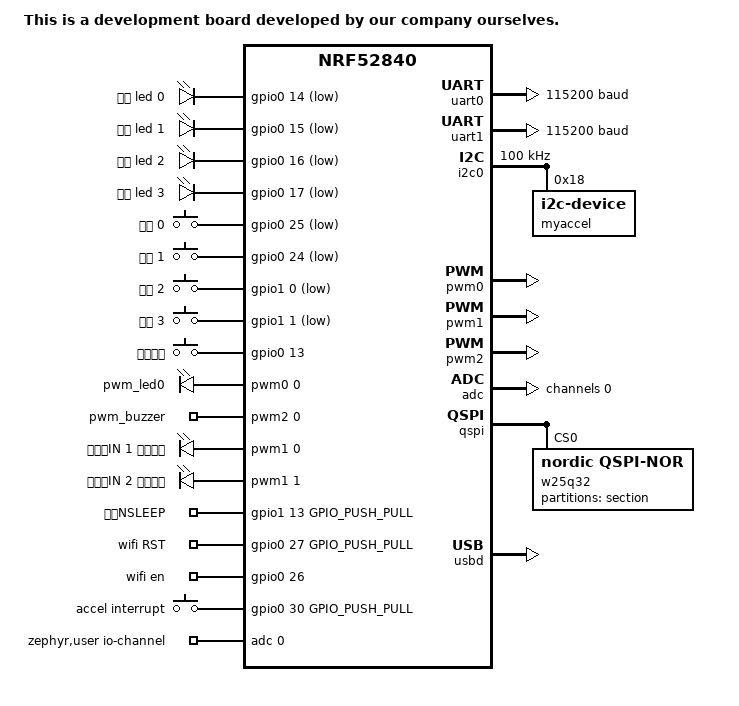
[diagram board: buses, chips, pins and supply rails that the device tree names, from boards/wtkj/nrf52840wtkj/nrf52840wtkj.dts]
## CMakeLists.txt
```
#
# Copyright (c) 2018 Nordic Semiconductor
#
# SPDX-License-Identifier: LicenseRef-Nordic-5-Clause
#
cmake_minimum_required(VERSION 3.20.0)

find_package(Zephyr REQUIRED HINTS $ENV{ZEPHYR_BASE})
project(peripheral_lbs)

zephyr_include_directories(inc)

# NORDIC SDK APP START
target_sources(app PRIVATE
  src/main.c
  src/gatt_svc.c
  src/bt_conn_ctrl.c
  src/app_threads.c
  src/param_parse_pack.c

  # head file
  inc/main.h
  inc/gatt_svc.h
  inc/bt_conn_ctrl.h
  inc/app_threads.h
  inc/param_parse_pack.h
)

# NORDIC SDK APP END
```

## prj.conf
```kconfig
# 基础配置
CONFIG_GPIO=y
CONFIG_LOG=y
CONFIG_BT=y
CONFIG_BT_PERIPHERAL=y
CONFIG_HWINFO=y
CONFIG_BT_DEVICE_NAME="MyE-Bike"

# GATT 服务相关
CONFIG_BT_GATT_SERVICE_CHANGED=y
CONFIG_BT_GATT_DYNAMIC_DB=y
CONFIG_MAIN_STACK_SIZE=2048

# --- 存储配置 (必须保留，否则无法记住对方) ---
CONFIG_BT_BONDABLE=y
CONFIG_BT_SETTINGS=y
CONFIG_SETTINGS=y
CONFIG_FLASH=y
CONFIG_FLASH_MAP=y
CONFIG_SETTINGS_NVS=y

# --- 安全配置 ---
CONFIG_BT_SMP=y

# 允许应用程序监听 PHY 更新 (速度变化，如 1M -> 2M)
CONFIG_BT_USER_PHY_UPDATE=y

CONFIG_BT_SMP_SC_ONLY=n
CONFIG_BT_SMP_OOB_LEGACY_PAIR_ONLY=n

# 允许应用程序监听数据包长度更新 (DLE)
CONFIG_BT_USER_DATA_LEN_UPDATE=y
```

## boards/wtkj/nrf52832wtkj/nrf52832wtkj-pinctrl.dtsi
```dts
&pinctrl {
    uart0_default: uart0_default {
        group1 {
            psels = <NRF_PSEL(UART_TX, 0, 6)>, <NRF_PSEL(UART_RX, 0, 8)>;
        };
    };

    uart0_sleep: uart0_sleep {
        group1 {
            psels = <NRF_PSEL(UART_TX, 0, 6)>, <NRF_PSEL(UART_RX, 0, 8)>;
            low-power-enable;
        };
    };
};
```

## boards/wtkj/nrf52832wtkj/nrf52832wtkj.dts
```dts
/dts-v1/;
#include <nordic/nrf52832_qfaa.dtsi>
#include "nrf52832wtkj-pinctrl.dtsi"

/ {
	model = "The core development board based on NRF52832 developed by our company";
	compatible = "wtkj,nrf52832wtkj";

	chosen {
		zephyr,sram = &sram0;
		zephyr,flash = &flash0;
		zephyr,code-partition = &slot0_partition;
		zephyr,console =  &uart0;
		zephyr,shell-uart =  &uart0;
		zephyr,uart-mcumgr = &uart0;
	};
	leds{
		compatible = "gpio-leds";
		led_0: led_0 {
			gpios = <&gpio0 11 GPIO_ACTIVE_LOW>;
		};
	};
	aliases {
		led0=&led_0;
	};
};

&flash0 {
	partitions {
		compatible = "fixed-partitions";
		#address-cells = <1>;
		#size-cells = <1>;

		boot_partition: partition@0 {
			label = "mcuboot";
			reg = <0x00000000 DT_SIZE_K(48)>;
		};

		slot0_partition: partition@c000 {
			label = "image-0";
			reg = <0x0000c000 DT_SIZE_K(220)>;
		};

		slot1_partition: partition@43000 {
			label = "image-1";
			reg = <0x00043000 DT_SIZE_K(220)>;
		};

		storage_partition: partition@7a000 {
			label = "storage";
			reg = <0x0007a000 DT_SIZE_K(24)>;
		};
	};
};
&uart0 {
	status = "okay";
	pinctrl-0 = <&uart0_default>;
	pinctrl-1 = <&uart0_sleep>;
	pinctrl-names = "default", "sleep";
	current-speed = <115200>;
};

&gpio0 {
	status = "okay";
};

&gpiote {
	status = "okay";
};
```

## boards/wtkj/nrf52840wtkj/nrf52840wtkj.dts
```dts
/dts-v1/;
#include <nordic/nrf52840_qiaa.dtsi>
#include "nrf52840wtkj-pinctrl.dtsi"
#include <zephyr/dt-bindings/input/input-event-codes.h>

/ {
	model = "This is a development board developed by our company ourselves.";
	compatible = "wtkj,nrf52840wtkj";

	chosen {
		zephyr,sram = &sram0;
		zephyr,flash = &flash0;
		zephyr,code-partition = &slot0_partition;
		zephyr,console =  &uart0 ;
		zephyr,shell-uart =  &uart0 ;
		zephyr,uart-mcumgr = &uart0;
	};
	leds{
		compatible = "gpio-leds";
		led0: led_0{
			gpios = <&gpio0 14 GPIO_ACTIVE_LOW>;
			label = "蓝色 led 0";
		};
		led1: led_1{
			gpios = <&gpio0 15 GPIO_ACTIVE_LOW>;
			label = "蓝色 led 1";
		};
		led2: led_2{
			gpios = <&gpio0 16 GPIO_ACTIVE_LOW>;
			label = "蓝色 led 2";
		};
		led3: led_3{
			gpios = <&gpio0 17 GPIO_ACTIVE_LOW>;
			label = "蓝色 led 3";
		};
	};
	buttons{
		compatible = "gpio-keys";
		button0: button_0{
			gpios = <&gpio0 25 (GPIO_ACTIVE_LOW | GPIO_PULL_UP)>;
			label = "按键 0";
			zephyr,code = <INPUT_KEY_0>;
		};
		button1: button_1{
			gpios = <&gpio0 24 (GPIO_PULL_UP|GPIO_ACTIVE_LOW)>;
			label = "按键 1";
			zephyr,code = <INPUT_KEY_1>;
		};
		button2: button_2{
			gpios = <&gpio1 0 (GPIO_ACTIVE_LOW | GPIO_PULL_UP)>;
			label = "按键 2";
			zephyr,code = <INPUT_KEY_2>;
		};
		button3: button_3{
			gpios = <&gpio1 1 (GPIO_ACTIVE_LOW | GPIO_PULL_UP)>;
			label = "按键 3";
			zephyr,code = <INPUT_KEY_3>;
		};
		touch: button_touch{
			gpios = <&gpio0 13 (GPIO_ACTIVE_HIGH | GPIO_PULL_DOWN)>;
			label = "触控按键";
			zephyr,code = <INPUT_KEY_4>;
		};
	};
	pwmleds{
		compatible = "pwm-leds";
		pwm_led0: pwm_led_0{
			pwms = <&pwm0 0 PWM_MSEC(20) PWM_POLARITY_NORMAL>;
		};
	};
	pwmbuzzer{
		compatible = "pwm-leds";
		pwm_buzzer: pwm_buzzer{
			pwms = <&pwm2 0 PWM_USEC(500) PWM_POLARITY_NORMAL>; //pwm 周期为500us
		};
	};
	motordriver {
		compatible = "pwm-leds";

		/* 通道0：控制电机正转/方向1（关联PWM1通道0） */
		motor_in_1: motor_in_1{
			pwms = <&pwm1 0 PWM_MSEC(20) PWM_POLARITY_NORMAL>;
			label = "电机的IN 1 引脚控制";
		};
		/* 通道1：控制电机反转/方向2（关联PWM1通道1） */
		motor_in_2: motor_in_2{
			pwms = <&pwm1 1 PWM_MSEC(20) PWM_POLARITY_NORMAL>;
			label = "电机的IN 2 引脚控制";
		};
	};
	gpiokeys{
		compatible = "gpio-keys";
		motor_nsleep: motor_nsleep{
			gpios = <&gpio1 13 GPIO_PUSH_PULL>;
			label = "电机NSLEEP";
		};
		wifi_rst: wifi_rst{
			gpios = <&gpio0 27 GPIO_PUSH_PULL>;
			label = "wifi RST";
		};
		wifi_en: wifi_en{
			gpios = <&gpio0 26 0>;
			label = "wifi en";
		};
		accel_interrupt: accel_interrupt{
			gpios = <&gpio0 30 GPIO_PUSH_PULL>;
			label = "accel interrupt";
		};
	};

	/* These aliases are provided for compatibility with samples */
	aliases {
		led0 = &led0;
		led1 = &led1;
		led2 = &led2;
		led3 = &led3;
		pwm-led0 = &pwm_led0;
		sw0 = &button0;
		sw1 = &button1;
		sw2 = &button2;
		sw3 = &button3;
		sw4 = &touch;
		bootloader-led0 = &led0;
		mcuboot-button0 = &button0;
		mcuboot-led0 = &led0;
		watchdog0 = &wdt0;
	};

	zephyr,user {
		io-channels = <&adc 0>;
	};
};

&flash0 {
	partitions {
		compatible = "fixed-partitions";
		#address-cells = <1>;
		#size-cells = <1>;

		boot_partition: partition@0 {
			label = "mcuboot";
			reg = <0x00000000 DT_SIZE_K(48)>;
		};

		slot0_partition: partition@c000 {
			label = "image-0";
			reg = <0x0000c000 DT_SIZE_K(472)>;
		};

		slot1_partition: partition@82000 {
			label = "image-1";
			reg = <0x00082000 DT_SIZE_K(472)>;
		};

		storage_partition: partition@f8000 {
			label = "storage";
			reg = <0x000f8000 DT_SIZE_K(32)>;
		};
	};
};
&gpiote {
	status = "okay";
};
&gpio0 {
	status = "okay";
};
&gpio1 {
	status = "okay";
};

//配置uart0
&uart0 {
	compatible = "nordic,nrf-uarte";
	status = "okay";
	current-speed = <115200>;
	pinctrl-0 = <&uart0_default>;
	pinctrl-1 = <&uart0_sleep>;
	pinctrl-names = "default","sleep";
};

//配置uart1
&uart1 {
	compatible = "nordic,nrf-uarte";
	status = "okay";
	current-speed = <115200>;
	pinctrl-0 = <&uart1_default>;
	pinctrl-1 = <&uart1_sleep>;
	pinctrl-names = "default","sleep";
};

//配置i2c0
&i2c0 {
	compatible = "nordic,nrf-twim";
	status = "okay";
	pinctrl-0 = <&i2c0_default>;
	pinctrl-1 = <&i2c0_sleep>;
	pinctrl-names = "default","sleep";
	clock-frequency = <I2C_BITRATE_STANDARD>;
	myaccel: lis2dh12@18 {
		compatible = "i2c-device";
		reg = <0x18>;
	};
};

//配置pwm0
&pwm0 {
	status = "okay";
	pinctrl-0 = <&pwm0_default>;
	pinctrl-1 = <&pwm0_sleep>;//注：这里有下画波浪线，是因为引脚被 led0 也使用了。
	pinctrl-names = "default","sleep";
};

//配置pwm1
&pwm1 {
	status = "okay";
	pinctrl-0 = <&pwm1_default>;
	pinctrl-1 = <&pwm1_sleep>;
	pinctrl-names = "default","sleep";
};
&pwm2 {
	status = "okay";
	pinctrl-0 = <&pwm2_default>;
	pinctrl-1 = <&pwm2_sleep>;
	pinctrl-names = "default","sleep";
};
&adc {
	#address-cells = <1>;
	#size-cells = <0>;
	status = "okay";
	channel@0 {
		reg = <0>;
		zephyr,gain = "ADC_GAIN_1_6";//增益 6倍
		zephyr,reference = "ADC_REF_INTERNAL"; //内部 0.6伏参考电压
		zephyr,acquisition-time = <ADC_ACQ_TIME_DEFAULT>;//采样时间
		zephyr,input-positive = <NRF_SAADC_AIN0>; /* P0.02 for nRF52xx, P0.04 for nRF5340 */
		zephyr,resolution = <12>;//分辨率12位
	};
};


&qspi {
	status = "okay";
	pinctrl-0 = <&qspi_default>;
	pinctrl-1 = <&qspi_sleep>;
	pinctrl-names = "default", "sleep";
	

	w25q32: qspi-nor@0 {
		compatible = "nordic,qspi-nor";
		reg = <0x0>;
		sck-frequency = <10000000>;/*时钟频率10Mhz */

		jedec-id = [ ef 40 16  ]; /* 厂商ID+设备ID，手册8.1节 */
		size = <0x2000000>;/* 这里填写flash大小（位） 0x2000000 位 = 0x400000 字节 =  4096kB = 4MB */
		
		/* Quad 读指令：Fast Read Quad Output（0x6Bh），需 QE=1 */
		readoc = "fastread"; 
		/* Quad 写指令：Quad Input Page Program（0x32h），需 QE=1 */
		writeoc = "pp"; 
		partitions {
			compatible = "fixed-partitions";
			#address-cells = <1>;
			#size-cells = <1>;
			section@0 {
				reg = <0x0 0x400000>;
				label = "section";
			};
		};
	};
	
	
};

// &i2s0 {
// 	status = "okay";
// 	pinctrl-0 = <&i2s0_default>;
// 	pinctrl-1 = <&i2s0_sleep>;
// 	pinctrl-names = "default", "sleep";
// };
&usbd {
	status = "okay";
};
```

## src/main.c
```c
#include <zephyr/kernel.h>
#include <zephyr/logging/log.h>
#include <zephyr/bluetooth/bluetooth.h>
#include <zephyr/settings/settings.h>
#include <zephyr/drivers/hwinfo.h>

#include "gatt_svc.h"      /* 获取 UUID */
#include "bt_conn_ctrl.h"  /* 获取安全初始化函数 */
#include "main.h"

LOG_MODULE_REGISTER(main, LOG_LEVEL_INF);

uint8_t chipId[3] = {0};

/* 广播数据定义 */
static struct bt_data ad[] = {
    BT_DATA_BYTES(BT_DATA_FLAGS, (BT_LE_AD_GENERAL | BT_LE_AD_NO_BREDR)),
    BT_DATA(BT_DATA_UUID16_ALL, &adv_uuid.val, sizeof(adv_uuid.val)),
};

static struct bt_data sd[] = {
    BT_DATA(BT_DATA_NAME_COMPLETE, CONFIG_BT_DEVICE_NAME, (sizeof(CONFIG_BT_DEVICE_NAME) - 1)),
};

static const struct bt_le_adv_param *adv_param = BT_LE_ADV_PARAM(
    BT_LE_ADV_OPT_CONNECTABLE | BT_LE_ADV_OPT_USE_IDENTITY,
    800,
    801,
    NULL
);

/* 启动广播 */
void bt_advertise_start(void)
{
    int err = bt_le_adv_start(adv_param, ad, ARRAY_SIZE(ad), sd, ARRAY_SIZE(sd));
    if (err) {
        LOG_ERR("Advertising failed (err %d)", err);
    } else {
        LOG_INF("Advertising started");
    }
}

/**
 * @brief 蓝牙就绪回调函数
 * @details 此函数在 bt_enable() 内部被调用，是设置初始 MAC 地址的最佳时机。
 */
static void bt_ready(int err)
{
    if (err) {
        LOG_ERR("Bluetooth init failed (err %d)", err);
        return;
    }
    LOG_INF("Bluetooth initialized successfully.");

    // 1. 立即检查并设置 MAC 地址，抢在 SDC 自动生成之前
    size_t id_count = 0;
    bt_id_get(NULL, &id_count);

    if (id_count == 0) {
        LOG_INF("No identity found, creating a new fixed MAC address.");

        bt_addr_le_t custom_addr = {
            .type = BT_ADDR_LE_RANDOM,
            .a = { .val = {BL_MAC_ADDR_5, BL_MAC_ADDR_4, BL_MAC_ADDR_3, BL_MAC_ADDR_2, BL_MAC_ADDR_1, BL_MAC_ADDR_0} }
        };
        custom_addr.a.val[5] |= 0xC0;

        err = bt_id_create(&custom_addr, NULL);
        if (err < 0) {
            LOG_ERR("Failed to create fixed MAC address (err %d)", err);
        } else {
            char addr_str[BT_ADDR_LE_STR_LEN];
            bt_addr_le_to_str(&custom_addr, addr_str, sizeof(addr_str));
            LOG_INF("Successfully set MAC address to: %s", addr_str);
        }
    } else {
        LOG_WRN("An identity already exists, skipping custom MAC creation.");
    }
    hwinfo_get_device_id(chipId, sizeof(chipId));
    LOG_INF("Chip ID: %02X:%02X:%02X", chipId[0], chipId[1], chipId[2]);

    // 2. 在设置完地址后，再加载其他设置 (如绑定信息)
    if (IS_ENABLED(CONFIG_BT_SETTINGS)) {
        settings_load();
        LOG_INF("Settings loaded.");
    }

    // 3. 安全初始化
    if (app_setup_security() != 0) {
        LOG_ERR("Security setup failed");
    }

    // 4. 在所有初始化完成后，开始广播
    bt_advertise_start();
}

int main(void)
{
    bt_enable(bt_ready);

    LOG_INF("Main loop running");
    return 0;
}
```

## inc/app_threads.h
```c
#ifndef APP_THREADS_H
#define APP_THREADS_H

/* 此处可放置线程相关的宏或外部控制函数声明 */

#endif /* APP_THREADS_H */
```

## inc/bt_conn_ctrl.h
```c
#ifndef BT_CONN_CTRL_H
#define BT_CONN_CTRL_H

/* 注册安全回调并设置固定密码 */
int app_setup_security(void);

/* 声明外部实现的广播函数 (main.c 实现) */
void bt_advertise_start(void);

#endif /* BT_CONN_CTRL_H */
```

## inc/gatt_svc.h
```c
#ifndef GATT_SVC_H
#define GATT_SVC_H

#include <zephyr/bluetooth/uuid.h>

/* 供 main.c 广播数据使用的 UUID 声明 */
extern struct bt_uuid_16 adv_uuid;

#endif /* GATT_SVC_H */
```

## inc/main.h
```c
#ifndef __MAIN_H__
#define __MAIN_H__ 

#include <zephyr/types.h>

#define BL_MAC_ADDR_0 0x14
#define BL_MAC_ADDR_1 0x0F
#define BL_MAC_ADDR_2 0x42
#define BL_MAC_ADDR_3 0x06
#define BL_MAC_ADDR_4 0x4A
#define BL_MAC_ADDR_5 0x25

enum led_state_t {
    BL_UNCONNECTED = 0,
    BL_CONNECTED,
};

extern volatile enum led_state_t LED_STATUS;

extern uint8_t chipId[3];

#endif
```

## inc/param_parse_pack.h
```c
#ifndef PARAM_PARSE_PACK_H
#define PARAM_PARSE_PACK_H

#include <zephyr/types.h>

/* 1. 定义命令头 */
#define RECV_CMD_HEAD 0xAA
#define SEND_CMD_HEAD 0xAB

/* 2. 定义命令 ID */
#define CMD_FTE_BleUnlockSetCmd 0x01
#define CMD_FTE_BleLockSetCmd   0x02

/* 3. 声明解析函数 */
/**
 * @brief 解析来自手机的命令
 * @param dataIn   接收到的数据
 * @param inLen    接收到的数据长度
 * @param dataOut  准备回复的数据缓冲区
 * @param outLen   回复数据的长度指针
 * @return 0 成功, 负数失败
 */
int param_parse(const uint8_t *dataIn, uint8_t inLen, uint8_t *dataOut, uint8_t *outLen);

#endif /* PARAM_PARSE_PACK_H */
```

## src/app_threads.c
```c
#include "app_threads.h"
#include "main.h"
#include <zephyr/kernel.h>
#include <zephyr/drivers/gpio.h>
#include <zephyr/logging/log.h>

//日志事件注册
LOG_MODULE_REGISTER(threads, LOG_LEVEL_INF);

//声明GPIO对应设备树结构体
static struct gpio_dt_spec led = GPIO_DT_SPEC_GET(DT_ALIAS(led0), gpios);

//声明结构体

//声明状态变量
volatile enum led_state_t LED_STATUS = BL_UNCONNECTED;

/* led task */
void led_task(void)
{
    if (!gpio_is_ready_dt(&led)) {
        LOG_ERR("LED not ready");
        return;
    }
    gpio_pin_configure_dt(&led, GPIO_OUTPUT);

    for (;;) {

        switch (LED_STATUS) {
        case BL_UNCONNECTED:
            gpio_pin_toggle_dt(&led);
            k_msleep(500);
            break;
        case BL_CONNECTED:
            gpio_pin_set_dt(&led, 1);
            break;
        }
    }
}

/* 启动线程 */
K_THREAD_DEFINE(led_task_thread_id, 256, led_task, NULL, NULL, NULL, 2, 0, 0);
```

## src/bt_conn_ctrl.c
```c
#include "bt_conn_ctrl.h"
#include "main.h"
#include <zephyr/logging/log.h>
#include <zephyr/bluetooth/conn.h>
#include <zephyr/bluetooth/gap.h>
#include <zephyr/bluetooth/hci.h>

LOG_MODULE_REGISTER(conn_ctrl, LOG_LEVEL_INF);

/* =========================================================================
 *  Part 1: 蓝牙连接状态回调 (Connection Callbacks)
 * ========================================================================= */

/**
 * @brief 连接成功回调
 */
static void connected(struct bt_conn *conn, uint8_t err)
{
    if (err) {
        LOG_ERR("Connection failed (err 0x%02x)", err);
        return;
    }

    LED_STATUS = BL_CONNECTED;

    char addr[BT_ADDR_LE_STR_LEN];
    bt_addr_le_to_str(bt_conn_get_dst(conn), addr, sizeof(addr));
    LOG_INF("Connected to: %s", addr);

    /* 更新连接参数: 
     * Min/Max Interval: 30ms-50ms (相对快速的响应)
     * Latency: 0 (无延迟)
     * Timeout: 4000ms (4秒超时)
     */
    struct bt_le_conn_param *param = BT_LE_CONN_PARAM(
        BT_GAP_INIT_CONN_INT_MIN, BT_GAP_INIT_CONN_INT_MAX, 0, 400);

    int param_err = bt_conn_le_param_update(conn, param);
    if (param_err) {
        LOG_WRN("Param update request failed: %d", param_err);
    }

    /* 请求 L2 安全等级 (Just Works: 加密但无认证) */
    /* 注意：如果已经配对过，这里会直接启用加密；如果是新设备，会触发配对流程 */
    int sec_err = bt_conn_set_security(conn, BT_SECURITY_L2);
    if (sec_err) {
        LOG_WRN("Failed to set security (err %d)", sec_err);
    }
}

/**
 * @brief 断开连接回调
 */
static void disconnected(struct bt_conn *conn, uint8_t reason)
{
    LOG_INF("Disconnected (reason 0x%02x)", reason);

    LED_STATUS = BL_UNCONNECTED;
    
    // 断开后立即重新开始广播，等待下一次连接
    bt_advertise_start(); 
}

/**
 * @brief 连接参数更新回调
 * @details 当连接间隔(Interval)、延迟(Latency)或超时(Timeout)发生变化时调用
 */
static void le_param_updated(struct bt_conn *conn, uint16_t interval,
                             uint16_t latency, uint16_t timeout)
{
    // Interval * 1.25ms = 实际时间
    LOG_INF("Connection parameters updated: interval %d (%.2f ms), latency %d, timeout %d ms",
            interval, interval * 1.25, latency, timeout * 10);
}

/**
 * @brief 物理层 (PHY) 更新回调
 * @details 当速度从 1Mbps 变为 2Mbps 或 Coded PHY 时调用
 */
static void le_phy_updated(struct bt_conn *conn,
                           struct bt_conn_le_phy_info *param)
{
    LOG_INF("PHY updated: TX PHY %u, RX PHY %u", param->tx_phy, param->rx_phy);
}

/**
 * @brief 安全等级变化回调
 * @details 非常重要！用于确认加密是否真正生效。
 *          level: BT_SECURITY_L1 (无加密), L2 (加密), L3 (加密+认证), L4 (加密+认证+ECDH)
 */
static void security_changed(struct bt_conn *conn, bt_security_t level,
                             enum bt_security_err err)
{
    char addr[BT_ADDR_LE_STR_LEN];
    bt_addr_le_to_str(bt_conn_get_dst(conn), addr, sizeof(addr));

    if (!err) {
        LOG_INF("Security changed: %s level %u", addr, level);
        if (level >= BT_SECURITY_L2) {
            LOG_INF("--> Link is now ENCRYPTED");
        }
    } else {
        LOG_ERR("Security failed: %s level %u err %d", addr, level, err);
    }
}

/**
 * @brief 数据长度扩展 (DLE) 更新回调
 * @details 当数据包最大负载长度发生变化时调用 (默认27字节，最高251字节)
 */
static void le_data_len_updated(struct bt_conn *conn,
                                struct bt_conn_le_data_len_info *info)
{
    LOG_INF("Data length updated: TX %u bytes, RX %u bytes", 
            info->tx_max_len, info->rx_max_len);
}

/* 注册连接回调结构体 */
BT_CONN_CB_DEFINE(conn_callbacks) = {
    .connected = connected,
    .disconnected = disconnected,
    .le_param_updated = le_param_updated,
    .le_phy_updated = le_phy_updated,
    .security_changed = security_changed,
    .le_data_len_updated = le_data_len_updated,
};


/* =========================================================================
 *  Part 2: 安全认证动作回调 (Action Callbacks)
 *  这里定义需要用户交互或确认的事件
 * ========================================================================= */

/**
 * @brief 取消配对回调
 */
static void auth_cancel(struct bt_conn *conn)
{
    LOG_ERR("Pairing cancelled");
}

/**
 * @brief 配对确认请求 (Just Works 流程中可能触发)
 * @details 如果手机发起了不需要密码的配对请求，协议栈可能会问“要不要配对”。
 *          我们在代码里自动确认，实现“无感”。
 */
static void auth_pairing_confirm(struct bt_conn *conn)
{
    char addr[BT_ADDR_LE_STR_LEN];
    bt_addr_le_to_str(bt_conn_get_dst(conn), addr, sizeof(addr));
    
    LOG_INF("Pairing confirmation request from %s", addr);
    
    // 自动同意配对
    bt_conn_auth_pairing_confirm(conn);
}

/**
 * @brief 密码显示回调 (Just Works 模式下通常不触发，除非对方强行要求显示)
 */
static void auth_passkey_display(struct bt_conn *conn, unsigned int passkey)
{
    LOG_INF("Passkey display: %06u (Unexpected for Just Works)", passkey);
}

/**
 * @brief 密码输入回调 (Just Works 模式下不触发)
 */
static void auth_passkey_entry(struct bt_conn *conn)
{
    LOG_INF("Passkey entry requested (Unexpected)");
}

/**
 * @brief 密码确认回调 (用于数值比较配对，Just Works 模式下不触发)
 */
static void auth_passkey_confirm(struct bt_conn *conn, unsigned int passkey)
{
    LOG_INF("Passkey confirm: %06u", passkey);
    bt_conn_auth_passkey_confirm(conn); // 自动确认
}

#if 0
static struct bt_conn_auth_cb auth_cb_display = {
    .cancel = auth_cancel,
    .pairing_confirm = auth_pairing_confirm, // 重要：自动确认配对请求
    .passkey_display = auth_passkey_display, // 下面这几个通常用不到，但写全防止NULL
    .passkey_entry = auth_passkey_entry,
    .passkey_confirm = auth_passkey_confirm, 
};
#else
static struct bt_conn_auth_cb auth_cb_display = {
    .passkey_display = NULL,
    .passkey_entry = NULL,
    .passkey_confirm = NULL,
    .pairing_confirm = NULL,
    .cancel = NULL,
};
#endif


/* =========================================================================
 *  Part 3: 安全认证信息回调 (Info Callbacks)
 *  这里定义通知类的事件（只是告诉你结果，不需要你操作）
 * ========================================================================= */

/**
 * @brief 配对流程完成
 */
static void auth_pairing_complete(struct bt_conn *conn, bool bonded)
{
    LOG_INF("Pairing Complete. Bonded: %d", bonded);
}

/**
 * @brief 配对失败
 */
static void auth_pairing_failed(struct bt_conn *conn, enum bt_security_err reason)
{
    // 常见错误：BT_SECURITY_ERR_PIN_OR_KEY_MISSING (密钥丢失/手机取消配对)
    LOG_ERR("Pairing Failed (reason %d)", reason);
}

/**
 * @brief 绑定被删除
 */
static void auth_bond_deleted(uint8_t id, const bt_addr_le_t *peer)
{
    LOG_INF("Bond deleted for peer");
}

static struct bt_conn_auth_info_cb auth_cb_info = {
    .pairing_complete = auth_pairing_complete,
    .pairing_failed = auth_pairing_failed,
    .bond_deleted = auth_bond_deleted,
};


/* =========================================================================
 *  Part 4: 初始化函数
 * ========================================================================= */

int app_setup_security(void)
{
    int err;
    
    // 注册动作类回调 (处理配对请求)
    err = bt_conn_auth_cb_register(&auth_cb_display);
    if (err) {
        LOG_ERR("Failed to register auth callbacks: %d", err);
        return err;
    }

    // 注册信息类回调 (接收配对结果)
    err = bt_conn_auth_info_cb_register(&auth_cb_info);
    if (err) {
        LOG_ERR("Failed to register auth info callbacks: %d", err);
        return err;
    }

    // 不需要设置固定密码，因为我们走的是 Just Works
    LOG_INF("Security callbacks registered (Just Works mode)");
    
    return 0;
}
```

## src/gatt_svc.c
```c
#include "gatt_svc.h"
#include "param_parse_pack.h"
#include <zephyr/kernel.h>
#include <zephyr/logging/log.h>
#include <zephyr/bluetooth/bluetooth.h>
#include <zephyr/bluetooth/gatt.h>

LOG_MODULE_REGISTER(gatt, LOG_LEVEL_INF);

/* UUID 定义 */
struct bt_uuid_16 adv_uuid = BT_UUID_INIT_16(0x1812);
static struct bt_uuid_16 service_uuid = BT_UUID_INIT_16(0xFEE7);
static struct bt_uuid_16 write_chrc_uuid = BT_UUID_INIT_16(0xFEC7);
static struct bt_uuid_16 notify_chrc_uuid = BT_UUID_INIT_16(0xFEC8);
static struct bt_uuid_16 read_chrc_uuid = BT_UUID_INIT_16(0xFEC9);

/* 数据缓存 */
#define SHARED_DATA_BUFFER_SIZE 20
static uint8_t shared_data_buffer[SHARED_DATA_BUFFER_SIZE] = {0};
static const char read_only_data[] = "Zephyr-Device-ReadOnly";
static bool is_notify_enabled = false;

/* 回调声明 */
static ssize_t write_fec7_cb(struct bt_conn *conn, const struct bt_gatt_attr *attr,
                             const void *buf, uint16_t len, uint16_t offset, uint8_t flags);
static ssize_t read_fec9_cb(struct bt_conn *conn, const struct bt_gatt_attr *attr,
                            void *buf, uint16_t len, uint16_t offset);
static void ccc_fec8_cfg_changed_cb(const struct bt_gatt_attr *attr, uint16_t value);

/* GATT 服务定义 */
BT_GATT_SERVICE_DEFINE(my_service,
                       BT_GATT_PRIMARY_SERVICE(&service_uuid),
                       /* Write */
                       BT_GATT_CHARACTERISTIC(&write_chrc_uuid.uuid, BT_GATT_CHRC_WRITE,
                                              BT_GATT_PERM_WRITE, NULL, write_fec7_cb, NULL),
                       /* Notify */
                       BT_GATT_CHARACTERISTIC(&notify_chrc_uuid.uuid, BT_GATT_CHRC_NOTIFY,
                                              0, NULL, NULL, NULL),
                       BT_GATT_CCC(ccc_fec8_cfg_changed_cb, BT_GATT_PERM_READ | BT_GATT_PERM_WRITE),
                       /* Read */
                       BT_GATT_CHARACTERISTIC(&read_chrc_uuid.uuid, BT_GATT_CHRC_READ,
                                              BT_GATT_PERM_READ, read_fec9_cb, NULL, (void *)read_only_data));

/**
 * @brief 函数名：write_fec7_cb
 *
 * @details GATT 写特征 (Write Characteristic) 回调函数。
 *          当手机 (Client) 向 UUID 0xFEC7 写入数据时，蓝牙协议栈会自动调用此函数。
 *          本函数将接收到的数据存储到 shared_data_buffer，并根据 notify 状态决定是否回显数据。
 *
 * @param conn   [in] 连接句柄 (struct bt_conn*)，标识是谁发起的写入。
 * @param attr   [in] 属性句柄 (struct bt_gatt_attr*)，指向被写入的特征属性。
 * @param buf    [in] 数据缓冲区 (void*)，包含手机发送过来的实际数据。
 * @param len    [in] 数据长度 (uint16_t)，buf 中的字节数。
 * @param offset [in] 写入偏移量 (uint16_t)，用于长写入 (Long Write) 操作，通常短包为 0。
 * @param flags  [in] 写入标志 (uint8_t)，例如 BT_GATT_WRITE_FLAG_PREPARE 等。
 *
 * @return ssize_t
 *         - 成功：返回实际写入的字节数 (通常等于 len)。
 *         - 失败：返回负数错误码 (如 BT_GATT_ERR(BT_ATT_ERR_INVALID_OFFSET))。
 */
static ssize_t write_fec7_cb(struct bt_conn *conn, const struct bt_gatt_attr *attr,
                             const void *buf, uint16_t len, uint16_t offset, uint8_t flags)
{
    LOG_INF("GATT Write received on 0xFEC7, len: %u", len);
    LOG_HEXDUMP_INF(buf, len, "Received Data:");

    // --- 这里是你的核心业务逻辑 ---
    char dataIn[256] = {0};
    unsigned char dataInLen = 0;
    char dataOut[256] = {0};
    unsigned char dataOutLen = 0;

    if (len > sizeof(dataIn))
    {
        LOG_ERR("Incoming data too long!");
        return BT_GATT_ERR(BT_ATT_ERR_INVALID_ATTRIBUTE_LEN);
    }

    dataInLen = len;
    memcpy(dataIn, buf, dataInLen);

    char result = param_parse(dataIn, dataInLen, dataOut, &dataOutLen);

    if (result < 0)
    {
        LOG_ERR("param_parse failed with code: %d", result);
    }
    else
    {
        if (dataOutLen > 0)
        {
            if (is_notify_enabled)
            {
                // 【关键】找到 Notify 特征值的句柄并发送
                // 注意：这个索引值 [4] 需要根据 BT_GATT_SERVICE_DEFINE 的结构来确定
                // 结构: [0]服务, [1]写Decl, [2]写Val, [3]Notify Decl, [4]Notify Val
                int err = bt_gatt_notify(conn, &my_service.attrs[4], dataOut, dataOutLen);
                if (err)
                {
                    LOG_ERR("bt_gatt_notify failed (err %d)", err);
                }
                else
                {
                    LOG_INF("Notification sent, len: %u", dataOutLen);
                    LOG_HEXDUMP_INF(dataOut, dataOutLen, "Sent Data:");
                }
            }
            else
            {
                LOG_WRN("Client has not enabled notifications, data dropped.");
            }
        }
    }

    return len; // 告诉协议栈已成功处理 len 字节
}

/**
 * @brief 函数名：read_fec9_cb
 *
 * @details GATT 读特征 (Read Characteristic) 回调函数。
 *          当手机 (Client) 请求读取 UUID 0xFEC9 的值时，蓝牙协议栈调用此函数。
 *          本函数将本地的只读数据 (read_only_data) 返回给手机。
 *
 * @param conn   [in] 连接句柄 (struct bt_conn*)。
 * @param attr   [in] 属性句柄 (struct bt_gatt_attr*)，指向被读取的特征属性。
 * @param buf    [out] 输出缓冲区 (void*)，用于存放返回给手机的数据。
 * @param len    [in] 缓冲区大小 (uint16_t)，手机能接收的最大长度。
 * @param offset [in] 读取偏移量 (uint16_t)，手机可能分段读取数据。
 *
 * @return ssize_t
 *         - 成功：返回读取的字节数。
 *         - 失败：返回负数错误码。
 */
static ssize_t read_fec9_cb(struct bt_conn *conn, const struct bt_gatt_attr *attr,
                            void *buf, uint16_t len, uint16_t offset)
{
    LOG_INF("GATT Read requested on 0xFEC9");
    const char my_data[] = "\x11\x18\x19";
    
    return bt_gatt_attr_read(conn, attr, buf, len, offset, my_data, sizeof(my_data));
}

/**
 * @brief 函数名：ccc_fec8_cfg_changed_cb
 *
 * @details CCCD (Client Characteristic Configuration Descriptor) 配置变更回调。
 *          当手机在 0xFEC8 特征上点击“开启通知”或“关闭通知”时调用。
 *          用于告知设备端是否允许发送 Notify 消息。
 *
 * @param attr   [in] 属性句柄 (struct bt_gatt_attr*)，指向 CCCD 描述符。
 * @param value  [in] 配置值 (uint16_t)，具体含义如下：
 *                - 0x0000: 关闭通知 (Notifications disabled)
 *                - 0x0001: 开启通知 (BT_GATT_CCC_NOTIFY)
 *                - 0x0002: 开启指示 (BT_GATT_CCC_INDICATE)
 *
 * @return void  无返回值。
 */
static void ccc_fec8_cfg_changed_cb(const struct bt_gatt_attr *attr, uint16_t value)
{
    // 更新全局标志位，判断是否开启了 Notify
    is_notify_enabled = (value == BT_GATT_CCC_NOTIFY);
    LOG_INF("Notification state has been changed by client: %s", is_notify_enabled ? "ENABLED" : "DISABLED");
}
```

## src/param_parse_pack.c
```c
#include "param_parse_pack.h"
#include <string.h>

// 假设 chipId 是一个全局变量，如果不是，你需要提供它
// 例如，可以从 hwinfo 获取
extern uint8_t chipId[3]; 

/**
 * @brief 异或校验函数
 */
static uint8_t _xorCheck(const uint8_t *src, uint8_t len)
{
    uint8_t checksum = 0;
    for (uint8_t i = 0; i < len; ++i) {
        checksum ^= src[i];
    }
    return checksum;
}

/**
 * @brief 封装开锁回复
 */
static int _bleUnlockSetCmdPack(uint8_t *dataOut, uint8_t *outLen)
{
    dataOut[0] = SEND_CMD_HEAD;
    dataOut[1] = CMD_FTE_BleUnlockSetCmd;
    dataOut[2] = 0x01; // 直接回复成功
    dataOut[3] = chipId[0];
    dataOut[4] = chipId[1];
    dataOut[5] = chipId[2];
    dataOut[6] = _xorCheck(dataOut, 6);
    *outLen = 7;
    return 0;
}

/**
 * @brief 封装关锁回复
 */
static int _bleLockSetCmdPack(uint8_t *dataOut, uint8_t *outLen)
{
    dataOut[0] = SEND_CMD_HEAD;
    dataOut[1] = CMD_FTE_BleLockSetCmd;
    dataOut[2] = 0x01; // 直接回复成功
    dataOut[3] = chipId[0];
    dataOut[4] = chipId[1];
    dataOut[5] = chipId[2];
    dataOut[6] = _xorCheck(dataOut, 6);
    *outLen = 7;
    return 0;
}


int param_parse(const uint8_t *dataIn, uint8_t inLen, uint8_t *dataOut, uint8_t *outLen)
{
    // 基本检查
    if (dataIn == NULL || inLen < 3 || dataOut == NULL || outLen == NULL) {
        return -1; // 参数错误
    }

    // 校验 CRC
    uint8_t crc = _xorCheck(dataIn, inLen - 1);
    if (crc != dataIn[inLen - 1]) {
        return -2; // CRC 错误
    }

    // 校验包头
    if (dataIn[0] != RECV_CMD_HEAD) {
        return -3; // 包头错误
    }

    uint8_t cmdType = dataIn[1];
    switch (cmdType) {
        case CMD_FTE_BleUnlockSetCmd:
            // 不做任何判断，直接封装成功回复
            return _bleUnlockSetCmdPack(dataOut, outLen);

        case CMD_FTE_BleLockSetCmd:
            // 不做任何判断，直接封装成功回复
            return _bleLockSetCmdPack(dataOut, outLen);

        default:
            // 其他命令我们不处理
            return -4; // 未知命令
    }

    return 0; // 理论上不会到这里
}
```
